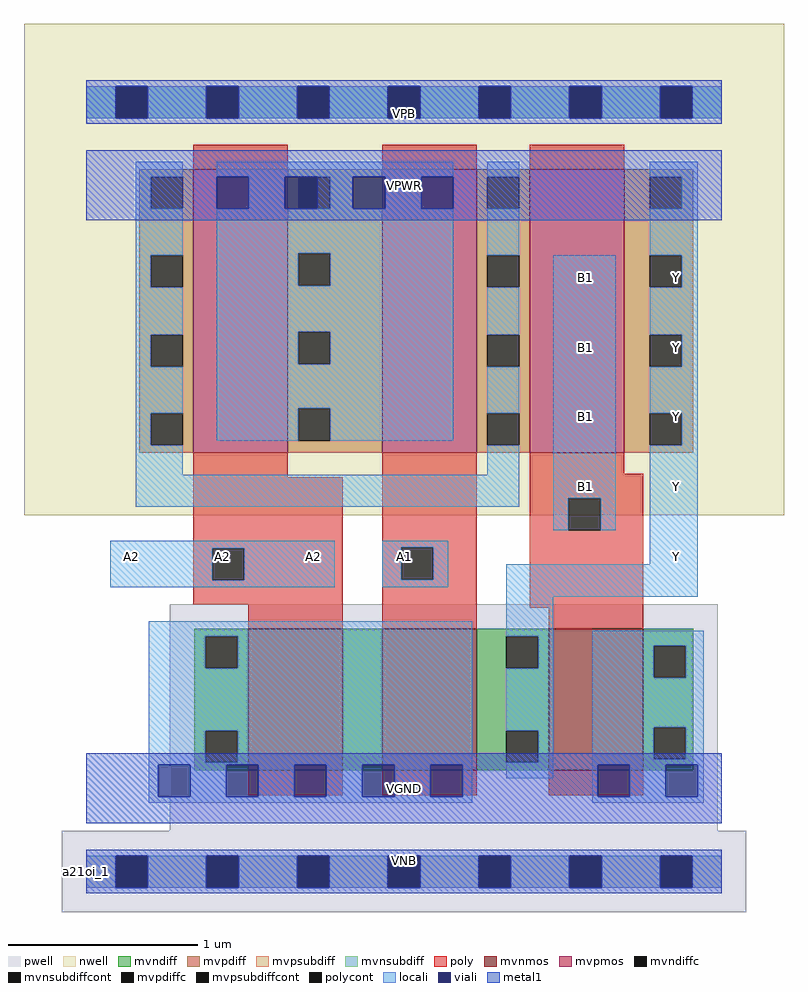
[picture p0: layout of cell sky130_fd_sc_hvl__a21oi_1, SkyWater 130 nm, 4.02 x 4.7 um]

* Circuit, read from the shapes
.subckt sky130_fd_sc_hvl__a21oi_1 A1 A2 B1 VGND VNB VPB VPWR Y
XM1 n1 A2 VGND VNB sky130_fd_pr__nfet_g5v0d10v5 w=0.75 l=0.5
XM2 Y A1 n1 VNB sky130_fd_pr__nfet_g5v0d10v5 w=0.75 l=0.5
XM3 VGND B1 Y VNB sky130_fd_pr__nfet_g5v0d10v5 w=0.75 l=0.5
XM4 VPWR A2 n2 VPB sky130_fd_pr__pfet_g5v0d10v5 w=1.5 l=0.5
XM5 n2 A1 VPWR VPB sky130_fd_pr__pfet_g5v0d10v5 w=1.5 l=0.5
XM6 Y B1 n2 VPB sky130_fd_pr__pfet_g5v0d10v5 w=1.5 l=0.5
.ends

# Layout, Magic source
magic
tech sky130A
magscale 1 2
<< nwell >>
rect -66 377 738 897
<< pwell >>
rect 88 43 668 283
rect -26 -43 698 43
<< mvnmos >>
rect 171 107 271 257
rect 313 107 413 257
rect 489 107 589 257
<< mvpmos >>
rect 113 443 213 743
rect 313 443 413 743
rect 469 443 569 743
<< mvndiff >>
rect 114 249 171 257
rect 114 215 126 249
rect 160 215 171 249
rect 114 149 171 215
rect 114 115 126 149
rect 160 115 171 149
rect 114 107 171 115
rect 271 107 313 257
rect 413 249 489 257
rect 413 215 444 249
rect 478 215 489 249
rect 413 149 489 215
rect 413 115 444 149
rect 478 115 489 149
rect 413 107 489 115
rect 589 239 642 257
rect 589 205 600 239
rect 634 205 642 239
rect 589 153 642 205
rect 589 119 600 153
rect 634 119 642 153
rect 589 107 642 119
<< mvpdiff >>
rect 56 735 113 743
rect 56 701 68 735
rect 102 701 113 735
rect 56 652 113 701
rect 56 618 68 652
rect 102 618 113 652
rect 56 568 113 618
rect 56 534 68 568
rect 102 534 113 568
rect 56 485 113 534
rect 56 451 68 485
rect 102 451 113 485
rect 56 443 113 451
rect 213 735 313 743
rect 213 701 224 735
rect 258 701 313 735
rect 213 654 313 701
rect 213 620 224 654
rect 258 620 313 654
rect 213 571 313 620
rect 213 537 224 571
rect 258 537 313 571
rect 213 490 313 537
rect 213 456 224 490
rect 258 456 313 490
rect 213 443 313 456
rect 413 735 469 743
rect 413 701 424 735
rect 458 701 469 735
rect 413 652 469 701
rect 413 618 424 652
rect 458 618 469 652
rect 413 568 469 618
rect 413 534 424 568
rect 458 534 469 568
rect 413 485 469 534
rect 413 451 424 485
rect 458 451 469 485
rect 413 443 469 451
rect 569 735 642 743
rect 569 701 596 735
rect 630 701 642 735
rect 569 652 642 701
rect 569 618 596 652
rect 630 618 642 652
rect 569 568 642 618
rect 569 534 596 568
rect 630 534 642 568
rect 569 485 642 534
rect 569 451 596 485
rect 630 451 642 485
rect 569 443 642 451
<< mvndiffc >>
rect 126 215 160 249
rect 126 115 160 149
rect 444 215 478 249
rect 444 115 478 149
rect 600 205 634 239
rect 600 119 634 153
<< mvpdiffc >>
rect 68 701 102 735
rect 68 618 102 652
rect 68 534 102 568
rect 68 451 102 485
rect 224 701 258 735
rect 224 620 258 654
rect 224 537 258 571
rect 224 456 258 490
rect 424 701 458 735
rect 424 618 458 652
rect 424 534 458 568
rect 424 451 458 485
rect 596 701 630 735
rect 596 618 630 652
rect 596 534 630 568
rect 596 451 630 485
<< mvpsubdiff >>
rect 0 -17 31 17
rect 65 -17 127 17
rect 161 -17 223 17
rect 257 -17 319 17
rect 353 -17 415 17
rect 449 -17 511 17
rect 545 -17 607 17
rect 641 -17 672 17
<< mvnsubdiff >>
rect 0 797 31 831
rect 65 797 127 831
rect 161 797 223 831
rect 257 797 319 831
rect 353 797 415 831
rect 449 797 511 831
rect 545 797 607 831
rect 641 797 672 831
<< mvpsubdiffcont >>
rect 31 -17 65 17
rect 127 -17 161 17
rect 223 -17 257 17
rect 319 -17 353 17
rect 415 -17 449 17
rect 511 -17 545 17
rect 607 -17 641 17
<< mvnsubdiffcont >>
rect 31 797 65 831
rect 127 797 161 831
rect 223 797 257 831
rect 319 797 353 831
rect 415 797 449 831
rect 511 797 545 831
rect 607 797 641 831
<< poly >>
rect 113 743 213 769
rect 313 743 413 769
rect 469 743 569 769
rect 113 417 213 443
rect 113 342 271 417
rect 113 308 133 342
rect 167 308 271 342
rect 113 283 271 308
rect 171 257 271 283
rect 313 343 413 443
rect 313 309 333 343
rect 367 309 413 343
rect 313 257 413 309
rect 469 421 569 443
rect 469 395 589 421
rect 469 361 510 395
rect 544 361 589 395
rect 469 279 589 361
rect 489 257 589 279
rect 171 81 271 107
rect 313 81 413 107
rect 489 81 589 107
<< polycont >>
rect 133 308 167 342
rect 333 309 367 343
rect 510 361 544 395
<< locali >>
rect 0 797 31 831
rect 65 797 127 831
rect 161 797 223 831
rect 257 797 319 831
rect 353 797 415 831
rect 449 797 511 831
rect 545 797 607 831
rect 641 797 672 831
rect 52 735 102 751
rect 52 701 68 735
rect 52 652 102 701
rect 52 618 68 652
rect 52 568 102 618
rect 52 534 68 568
rect 52 485 102 534
rect 52 451 68 485
rect 138 735 388 751
rect 172 701 210 735
rect 258 701 282 735
rect 316 701 354 735
rect 138 654 388 701
rect 138 620 224 654
rect 258 620 388 654
rect 138 571 388 620
rect 138 537 224 571
rect 258 537 388 571
rect 138 490 388 537
rect 138 456 224 490
rect 258 456 388 490
rect 424 735 458 751
rect 424 652 458 701
rect 596 735 647 751
rect 630 701 647 735
rect 596 652 647 701
rect 424 568 458 618
rect 424 485 458 534
rect 52 420 102 451
rect 424 420 458 451
rect 52 386 458 420
rect 494 395 560 652
rect 494 361 510 395
rect 544 361 560 395
rect 630 618 647 652
rect 596 568 647 618
rect 630 534 647 568
rect 596 485 647 534
rect 630 451 647 485
rect 25 342 263 350
rect 25 308 133 342
rect 167 308 263 342
rect 25 301 263 308
rect 313 343 383 350
rect 313 309 333 343
rect 367 309 383 343
rect 596 325 647 451
rect 313 301 383 309
rect 444 291 647 325
rect 66 249 408 265
rect 66 215 126 249
rect 160 215 408 249
rect 66 149 408 215
rect 66 115 126 149
rect 160 115 408 149
rect 66 113 408 115
rect 66 79 76 113
rect 110 79 148 113
rect 182 79 220 113
rect 254 79 292 113
rect 326 79 364 113
rect 398 79 408 113
rect 444 249 494 291
rect 478 215 494 249
rect 444 149 494 215
rect 478 115 494 149
rect 444 99 494 115
rect 535 239 653 255
rect 535 205 600 239
rect 634 205 653 239
rect 535 153 653 205
rect 535 119 600 153
rect 634 119 653 153
rect 535 113 653 119
rect 66 73 408 79
rect 535 79 541 113
rect 575 79 613 113
rect 647 79 653 113
rect 535 73 653 79
rect 0 -17 31 17
rect 65 -17 127 17
rect 161 -17 223 17
rect 257 -17 319 17
rect 353 -17 415 17
rect 449 -17 511 17
rect 545 -17 607 17
rect 641 -17 672 17
<< viali >>
rect 31 797 65 831
rect 127 797 161 831
rect 223 797 257 831
rect 319 797 353 831
rect 415 797 449 831
rect 511 797 545 831
rect 607 797 641 831
rect 138 701 172 735
rect 210 701 224 735
rect 224 701 244 735
rect 282 701 316 735
rect 354 701 388 735
rect 76 79 110 113
rect 148 79 182 113
rect 220 79 254 113
rect 292 79 326 113
rect 364 79 398 113
rect 541 79 575 113
rect 613 79 647 113
rect 31 -17 65 17
rect 127 -17 161 17
rect 223 -17 257 17
rect 319 -17 353 17
rect 415 -17 449 17
rect 511 -17 545 17
rect 607 -17 641 17
<< metal1 >>
rect 0 831 672 837
rect 0 797 31 831
rect 65 797 127 831
rect 161 797 223 831
rect 257 797 319 831
rect 353 797 415 831
rect 449 797 511 831
rect 545 797 607 831
rect 641 797 672 831
rect 0 791 672 797
rect 0 735 672 763
rect 0 701 138 735
rect 172 701 210 735
rect 244 701 282 735
rect 316 701 354 735
rect 388 701 672 735
rect 0 689 672 701
rect 0 113 672 125
rect 0 79 76 113
rect 110 79 148 113
rect 182 79 220 113
rect 254 79 292 113
rect 326 79 364 113
rect 398 79 541 113
rect 575 79 613 113
rect 647 79 672 113
rect 0 51 672 79
rect 0 17 672 23
rect 0 -17 31 17
rect 65 -17 127 17
rect 161 -17 223 17
rect 257 -17 319 17
rect 353 -17 415 17
rect 449 -17 511 17
rect 545 -17 607 17
rect 641 -17 672 17
rect 0 -23 672 -17
<< labels >>
rlabel comment s 0 0 0 0 4 a21oi_1
flabel metal1 s 0 51 672 125 0 FreeSans 340 0 0 0 VGND
port 4 nsew ground bidirectional
flabel metal1 s 0 0 672 23 0 FreeSans 340 0 0 0 VNB
port 5 nsew ground bidirectional
flabel metal1 s 0 689 672 763 0 FreeSans 340 0 0 0 VPWR
port 7 nsew power bidirectional
flabel metal1 s 0 791 672 814 0 FreeSans 340 0 0 0 VPB
port 6 nsew power bidirectional
flabel locali s 319 316 353 350 0 FreeSans 340 0 0 0 A1
port 1 nsew signal input
flabel locali s 31 316 65 350 0 FreeSans 340 0 0 0 A2
port 2 nsew signal input
flabel locali s 127 316 161 350 0 FreeSans 340 0 0 0 A2
port 2 nsew signal input
flabel locali s 223 316 257 350 0 FreeSans 340 0 0 0 A2
port 2 nsew signal input
flabel locali s 511 390 545 424 0 FreeSans 340 0 0 0 B1
port 3 nsew signal input
flabel locali s 511 464 545 498 0 FreeSans 340 0 0 0 B1
port 3 nsew signal input
flabel locali s 511 538 545 572 0 FreeSans 340 0 0 0 B1
port 3 nsew signal input
flabel locali s 511 612 545 646 0 FreeSans 340 0 0 0 B1
port 3 nsew signal input
flabel locali s 607 316 641 350 0 FreeSans 340 0 0 0 Y
port 8 nsew signal output
flabel locali s 607 390 641 424 0 FreeSans 340 0 0 0 Y
port 8 nsew signal output
flabel locali s 607 464 641 498 0 FreeSans 340 0 0 0 Y
port 8 nsew signal output
flabel locali s 607 538 641 572 0 FreeSans 340 0 0 0 Y
port 8 nsew signal output
flabel locali s 607 612 641 646 0 FreeSans 340 0 0 0 Y
port 8 nsew signal output
<< properties >>
string FIXED_BBOX 0 0 672 814
string GDS_END 769938
string GDS_FILE $PDKPATH/libs.ref/sky130_fd_sc_hvl/gds/sky130_fd_sc_hvl.gds
string GDS_START 760414
string LEFclass CORE
string LEFsite unithv
string LEFsymmetry X Y
<< end >>
